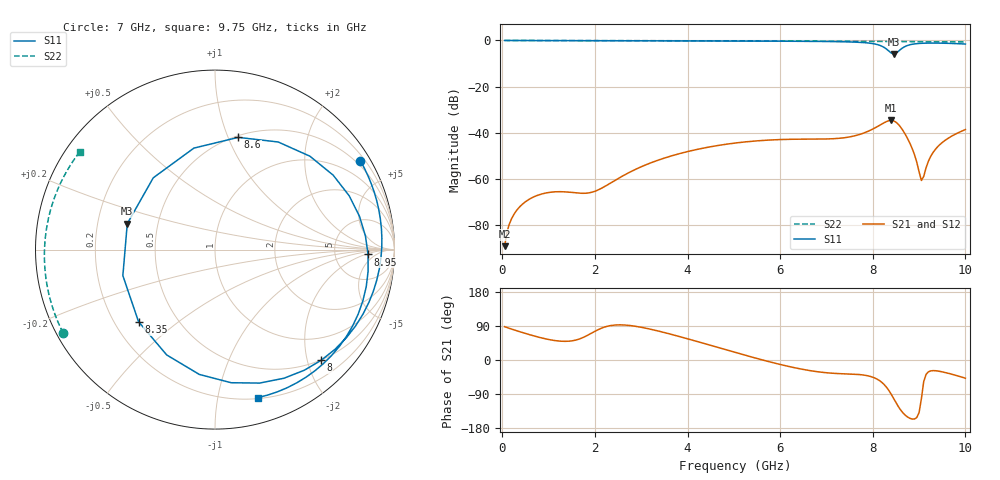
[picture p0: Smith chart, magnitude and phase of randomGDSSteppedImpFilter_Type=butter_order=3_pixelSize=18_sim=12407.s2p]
! freq	dB(S11)	phase(S11)	dB(S12)	phase(S12)
!  dB(S21)	phase(S21)	dB(S22)	phase(S22)
!S-par simulation data
#  GHz  S  DB  R 50
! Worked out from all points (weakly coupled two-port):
!   200 points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, 50 MHz to 10 GHz, reference 50 ohm
!   highest |S21| = -34.69 dB at 8.4 GHz (marker M1); lowest = -89.2 dB at 50 MHz (marker M2)
!   lowest |S11| = -5.9 dB at 8.45 GHz (marker M3), VSWR 3.08, Z = 16.5 + j6.46 ohm
!   |S11| at or under -10 dB: nowhere
!   |S22| runs from -0.7 to 0.0 dB; largest |S21 - S12| = 0
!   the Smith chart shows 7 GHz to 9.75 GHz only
!   S11 on the Smith chart (normalised r, x): 7 GHz: 0.35, +3.53; 8 GHz: 0.49, -2.25; 8.35 GHz: 0.30, -0.37; 8.6 GHz: 0.52, +1.09; 8.95 GHz: 12, -2; 9.75 GHz: 0.21, -1.31
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0.05  -0.00 -3.1  -89.24 88.0  -89.24 88.0  -0.00 -1.2
0.75  -0.05 -44.7  -67.27 61.3  -67.27 61.3  -0.02 -17.8
1.75  -0.11 -98.2  -66.30 59.7  -66.30 59.7  -0.05 -41.0
2.6  -0.14 -137.5  -58.77 92.6  -58.77 92.6  -0.08 -60.1
3.4  -0.17 -170.9  -51.69 75.5  -51.69 75.5  -0.10 -77.4
5.05  -0.25 122.7  -44.45 19.3  -44.45 19.3  -0.17 -111.6
5.9  -0.31 85.9  -43.07 -8.8  -43.07 -8.8  -0.22 -128.8
6.7  -0.40 47.4  -42.80 -29.1  -42.80 -29.1  -0.28 -145.0
7  -0.45 31.4  -42.74 -33.7  -42.74 -33.7  -0.31 -151.2
7.6  -0.71 -6.7  -41.42 -37.5  -41.42 -37.5  -0.37 -163.9
8  -1.37 -46.2  -38.44 -45.4  -38.44 -45.4  -0.41 -172.7
8.2  -2.53 -83.1  -36.20 -59.5  -36.20 -59.5  -0.43 -177.2
8.35  -4.65 -136.7  -34.81 -81.0  -34.81 -81.0  -0.45 179.4
8.4  -5.46 -164.2  -34.69 -90.8  -34.69 -90.8  -0.46 178.2
8.45  -5.85 163.5  -34.88 -101.4  -34.88 -101.4  -0.46 177.1
8.6  -3.90 78.3  -37.56 -131.6  -37.56 -131.6  -0.48 173.5
8.75  -2.18 32.2  -42.49 -150.4  -42.49 -150.4  -0.50 169.9
8.95  -1.38 -1.8  -52.80 -151.8  -52.80 -151.8  -0.52 165.1
9.05  -1.23 -13.9  -60.75 -102.1  -60.75 -102.1  -0.54 162.6
9.3  -1.13 -38.0  -48.65 -28.0  -48.65 -28.0  -0.57 156.2
9.75  -1.32 -73.9  -41.00 -39.0  -41.00 -39.0  -0.63 144.1
10  -1.55 -93.6  -38.66 -48.0  -38.66 -48.0  -0.67 137.0
